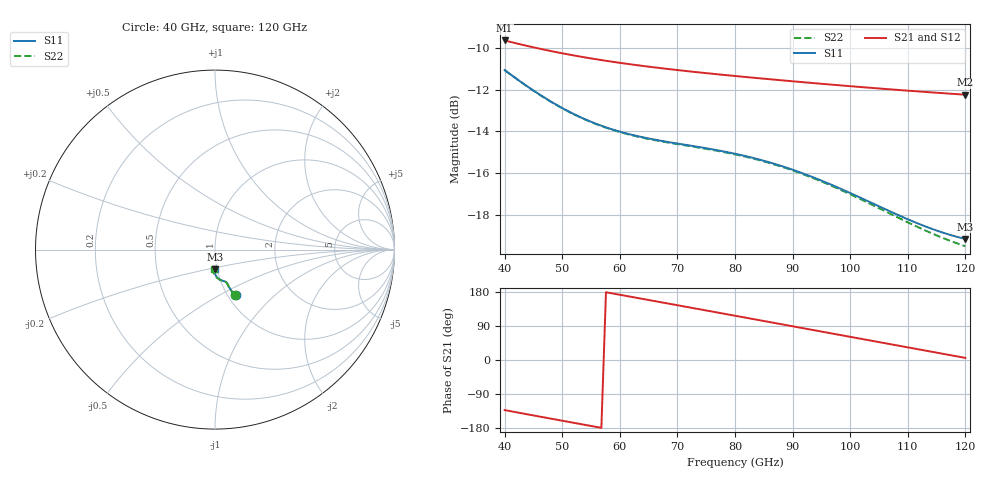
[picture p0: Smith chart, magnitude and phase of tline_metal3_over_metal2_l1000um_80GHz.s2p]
#  GHZ S DB R 50
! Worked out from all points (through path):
!   101 points, 40 GHz to 120 GHz, reference 50 ohm
!   highest |S21| = -9.65 dB at 40 GHz (marker M1); lowest = -12.2 dB at 120 GHz (marker M2)
!   group delay of S21, straight-line fit = 7.71 ps
!   lowest |S11| = -19.1 dB at 120 GHz (marker M3), VSWR 1.25, Z = 48.9 - j10.9 ohm
!   |S11| at or under -10 dB: start of sweep to end of sweep
!   |S22| runs from -19.5 to -11.1 dB; largest |S21 - S12| = 3.4e-13
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40  -11.07 -65.8  -9.65 -132.1  -9.65 -132.1  -11.07 -65.9
43.2  -11.71 -67.4  -9.87 -141.2  -9.87 -141.2  -11.71 -67.5
46.4  -12.29 -68.5  -10.06 -150.2  -10.06 -150.2  -12.30 -68.7
49.6  -12.82 -69.2  -10.24 -159.1  -10.24 -159.1  -12.83 -69.4
53.6  -13.37 -69.6  -10.44 -170.2  -10.44 -170.2  -13.39 -69.9
56.8  -13.73 -69.9  -10.59 -179.0  -10.59 -179.0  -13.74 -70.2
60  -14.01 -70.2  -10.72 172.2  -10.72 172.2  -14.03 -70.5
63.2  -14.23 -70.6  -10.84 163.3  -10.84 163.3  -14.25 -71.0
67.2  -14.45 -71.5  -10.98 152.3  -10.98 152.3  -14.47 -72.0
73.6  -14.74 -74.0  -11.17 134.6  -11.17 134.6  -14.77 -74.5
76.8  -14.89 -75.6  -11.26 125.7  -11.26 125.7  -14.92 -76.2
80  -15.07 -77.4  -11.35 116.8  -11.35 116.8  -15.10 -78.1
83.2  -15.27 -79.3  -11.43 107.9  -11.43 107.9  -15.30 -80.1
86.4  -15.51 -81.3  -11.51 99.0  -11.51 99.0  -15.54 -82.3
89.6  -15.79 -83.3  -11.59 90.1  -11.59 90.1  -15.82 -84.4
93.6  -16.19 -85.7  -11.69 79.0  -11.69 79.0  -16.23 -87.0
96.8  -16.56 -87.3  -11.76 70.1  -11.76 70.1  -16.60 -88.8
100  -16.94 -88.7  -11.84 61.2  -11.84 61.2  -17.00 -90.5
107.2  -17.85 -90.6  -11.99 41.1  -11.99 41.1  -17.97 -93.0
113.6  -18.60 -90.6  -12.12 23.3  -12.12 23.3  -18.80 -93.7
116.8  -18.90 -90.2  -12.18 14.4  -12.18 14.4  -19.17 -93.6
120  -19.14 -89.6  -12.24 5.5  -12.24 5.5  -19.48 -93.2
